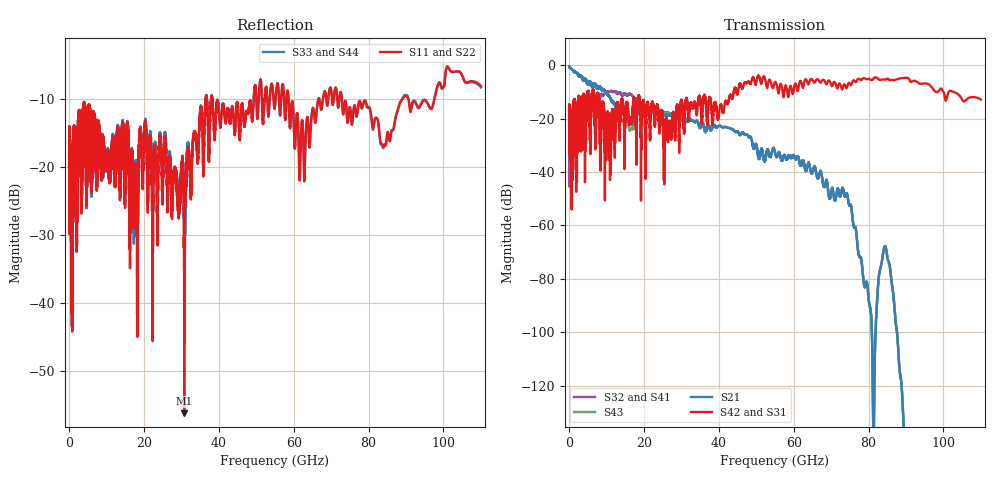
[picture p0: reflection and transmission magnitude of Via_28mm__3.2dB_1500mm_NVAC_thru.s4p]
!4 port subset of full cascaded channels using these ports:3 1 4 2
# Hz S RI R 50
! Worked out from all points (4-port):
!   11000 points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, 10 MHz to 110 GHz, reference 50 ohm
!   strongest paths, dB at 10 MHz, 27.51 GHz, 55.01 GHz, 82.51 GHz, 110 GHz:
!     S42: -21.5, -21.3, -6.3, -5.0, -12.9
!     S31: -21.5, -21.3, -6.3, -5.0, -12.9
!     S21: -0.4, -18.8, -32.8, -82.8, -
!     S43: -0.4, -18.5, -32.8, -82.7, -
!     S32: -34.2, -18.4, -32.8, -82.8, -
!     S41: -34.2, -18.5, -32.8, -82.8, -
!   lowest |S11| = -56.2 dB at 30.75 GHz (marker M1), VSWR 1.00, Z = 49.9 - j0.0492 ohm
!   |S11| at or under -10 dB: start of sweep to 36.48 GHz; 38.26 GHz to 49.33 GHz (11.07 GHz wide, 25.3 % of centre); 72.87 GHz to 89.01 GHz (16.14 GHz wide, 19.9 % of centre) (the widest 3 of 24)
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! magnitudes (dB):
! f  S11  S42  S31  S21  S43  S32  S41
! 10 MHz  -19.8  -21.5  -21.5  -0.4  -0.4  -34.2  -34.2
! 4.8 GHz  -11.9  -11.0  -11.0  -6.7  -6.7  -12.2  -12.2
! 30.75 GHz  -56.2  -23.8  -23.8  -20.3  -19.3  -19.9  -19.9
! 36.64 GHz  -9.5  -15.3  -15.3  -24.3  -24.8  -24.5  -24.5
! 73.3 GHz  -12.0  -7.6  -7.6  -47.1  -47.2  -47.1  -47.1
! 79.1 GHz  -10.2  -5.0  -5.0  -82.8  -82.9  -82.8  -82.8
! 110 GHz  -8.0  -12.9  -12.9  -  -  -  -
